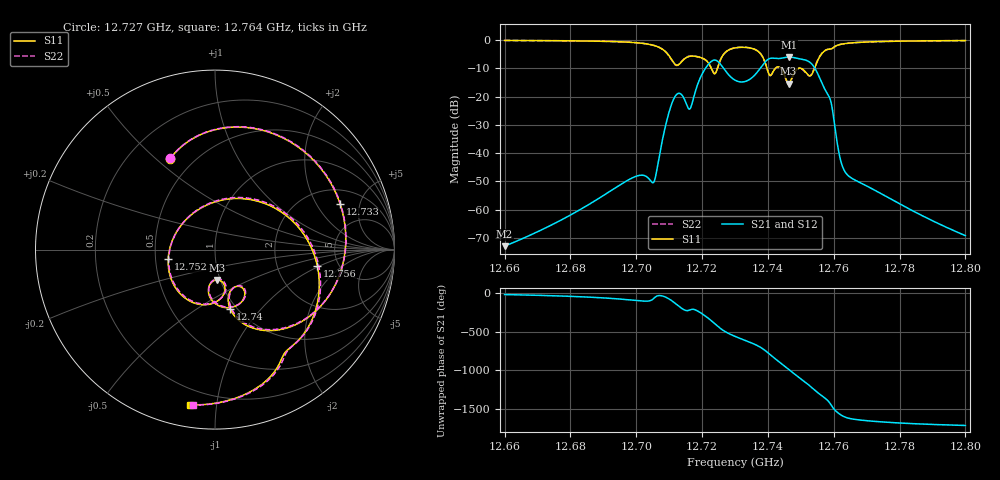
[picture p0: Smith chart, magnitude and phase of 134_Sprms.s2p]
! TOUCHSTONE file generated by CST MICROWAVE STUDIO
! Date and time: Wed Jul 31 17:34:33 2024
! Project name: WaveGuide_BPF-Ver4.1_U-shape_Ku_T3_C4_CWA_2.cst
! Parameters = {cavity_h=16; cavity_l0=10; cavity_l1=15.1715; cavity_l2=16.8433; cavity_l3=17.0872; cavity_l4=17.2759; cavity_l5=17.0946; cavity_l6=17.5682; cavity_r=2.5; cavity_screw_l=0.5; cavity_screw_r=1.5; cavity_w=8; iris_h00=0; iris_h01=8.8373; iris_h112=0; iris_h12=5.5983; iris_h211=3.6682; 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
! Header version: 2018
! Port assignment regex: !\s*Touchstone port\s*([0-9]+)\s*=\s*(CST MWS port|CST DS port)\s*([0-9]+|Zmin|Zmax)\s*\(\"(.*)\"\)(\s*mode\s*([0-9]+))?.*
! Touchstone port assignment:
! Touchstone port 1 = CST MWS port 1 ("")
! Touchstone port 2 = CST MWS port 2 ("")
# GHz S RI R 50
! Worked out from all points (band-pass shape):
!   5001 points, 12.66 GHz to 12.8 GHz, reference 50 ohm
!   highest |S21| = -6.01 dB at 12.746 GHz (marker M1); lowest = -72.9 dB at 12.66 GHz (marker M2)
!   |S21| within 3 dB of the highest: 12.72163 GHz to 12.72589 GHz (4.26 MHz wide, 0.0335 % of centre); 12.73831 GHz to 12.7537 GHz (15.4 MHz wide, 0.121 % of centre)
!   lowest |S11| = -15.4 dB at 12.746 GHz (marker M3), VSWR 1.41, Z = 48.2 - j16.7 ohm
!   |S11| at or under -10 dB: 12.73971 GHz to 12.74227 GHz (2.562 MHz wide, 0.0201 % of centre); 12.74391 GHz to 12.74923 GHz (5.325 MHz wide, 0.0418 % of centre); 12.75006 GHz to 12.75416 GHz (4.103 MHz wide, 0.0322 % of centre) (the widest 3 of 4)
!   |S22| runs from -15.8 to -0.2 dB; largest |S21 - S12| = 1e-09
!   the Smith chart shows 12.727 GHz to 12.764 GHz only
!   S11 on the Smith chart (normalised r, x): 12.727 GHz: 0.38, +0.55; 12.733 GHz: 2.90, +3.25; 12.74 GHz: 0.93, -0.70; 12.752 GHz: 0.58, -0.06; 12.756 GHz: 3.45, -0.97; 12.764 GHz: 0.11, -0.84
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12.66  0.2892 0.9391  0.00021 -8.05e-05  0.00021 -8.05e-05  0.2881 0.9395
12.68335  0.6774 0.6854  0.000664 -0.000789  0.000664 -0.000789  0.6731 0.6902
12.69965  0.8991 -0.0412  -0.000427 -0.0038  -0.000427 -0.0038  0.9008 -0.0254
12.70668  0.3723 -0.656  0.00564 -0.00399  0.00564 -0.00399  0.3883 -0.6467
12.71191  -0.3146 0.1885  -0.0763 -0.069  -0.0763 -0.069  -0.3045 0.1941
12.7151  0.4844 0.0066  -0.0522 0.0569  -0.0522 0.0569  0.492 0.00514
12.71793  -0.0264 -0.5147  -0.0939 0.0774  -0.0939 0.0774  -0.0178 -0.5164
12.72306  -0.1857 0.2268  0.4236 -0.066  0.4236 -0.066  -0.1884 0.228
12.72658  -0.2518 0.5031  -0.1995 -0.2402  -0.1995 -0.2402  -0.2484 0.5076
12.73  0.3484 0.636  -0.1804 0.0744  -0.1804 0.0744  0.3488 0.6387
12.73302  0.6976 0.252  -0.0543 0.1761  -0.0543 0.1761  0.6973 0.2597
12.73952  0.0856 -0.332  0.3417 -0.263  0.3417 -0.263  0.0923 -0.33
12.74336  0.0795 -0.3236  -0.4628 -0.0865  -0.4628 -0.0865  0.0849 -0.3202
12.7463  0.0102 -0.1689  -0.00935 0.5005  -0.00935 0.5005  0.0136 -0.1625
12.74644  0.019 -0.1694  0.0334 0.4996  0.0334 0.4996  0.0226 -0.1629
12.7489  -0.0393 -0.3061  0.4733 0.0295  0.4733 0.0295  -0.0339 -0.3022
12.75156  -0.2608 -0.0517  0.0567 -0.4354  0.0567 -0.4354  -0.2573 -0.042
12.75335  -0.0628 0.2397  -0.3112 -0.2089  -0.3112 -0.2089  -0.0528 0.2478
12.7564  0.5706 -0.0932  -0.0527 0.165  -0.0527 0.165  0.5766 -0.0848
12.76419  -0.1403 -0.8646  -0.0041 -0.000131  -0.0041 -0.000131  -0.1241 -0.8661
12.77668  -0.8253 -0.4657  -0.000909 0.00133  -0.000909 0.00133  -0.821 -0.4719
12.8  -0.9651 0.1559  3.46e-05 0.000344  3.46e-05 0.000344  -0.9649 0.1557
